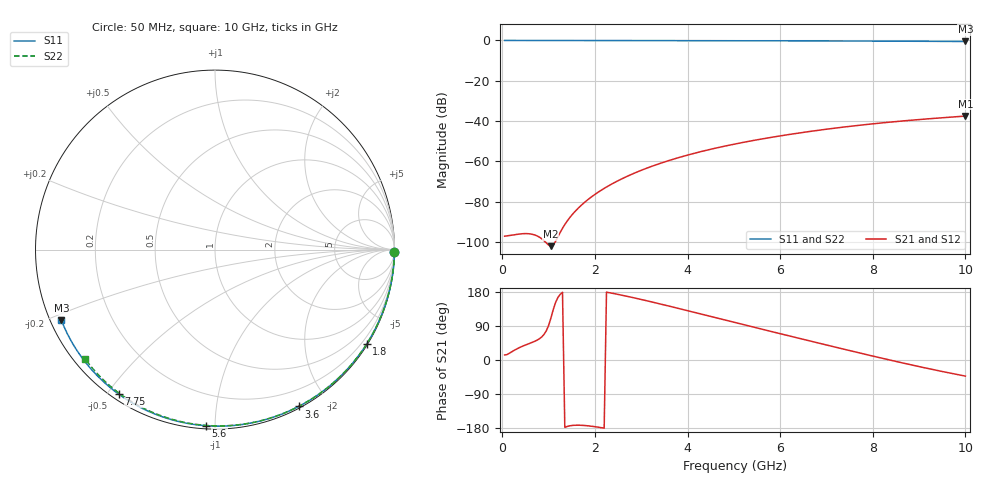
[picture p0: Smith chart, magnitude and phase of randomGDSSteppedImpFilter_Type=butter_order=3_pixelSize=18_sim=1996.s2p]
! freq	dB(S11)	phase(S11)	dB(S12)	phase(S12)
!  dB(S21)	phase(S21)	dB(S22)	phase(S22)
!S-par simulation data
#  GHz  S  DB  R 50
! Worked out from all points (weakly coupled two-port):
!   200 points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, 50 MHz to 10 GHz, reference 50 ohm
!   highest |S21| = -37.51 dB at 10 GHz (marker M1); lowest = -102.0 dB at 1.05 GHz (marker M2)
!   lowest |S11| = -0.5 dB at 10 GHz (marker M3), VSWR 33.65, Z = 1.56 - j10.9 ohm
!   |S11| at or under -10 dB: nowhere
!   |S22| runs from -0.5 to 0.0 dB; largest |S21 - S12| = 0
!   S11 on the Smith chart (normalised r, x): 50 MHz: open; 1.8 GHz: 0.03, -3.51; 3.6 GHz: 0.02, -1.67; 5.6 GHz: 0.02, -0.95; 7.75 GHz: 0.02, -0.54; 10 GHz: 0.03, -0.22
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0.05  -0.00 -0.9  -97.10 13.3  -97.10 13.3  -0.00 -0.8
0.55  -0.01 -9.9  -95.83 42.0  -95.83 42.0  -0.01 -8.9
1.05  -0.02 -18.7  -102.04 110.6  -102.04 110.6  -0.02 -16.9
1.75  -0.04 -30.9  -80.83 -172.6  -80.83 -172.6  -0.04 -28.0
1.8  -0.04 -31.8  -79.85 -173.1  -79.85 -173.1  -0.04 -28.8
1.95  -0.04 -34.4  -77.18 -175.1  -77.18 -175.1  -0.04 -31.1
2.1  -0.05 -37.0  -74.81 -177.8  -74.81 -177.8  -0.04 -33.5
2.3  -0.05 -40.4  -72.03 177.9  -72.03 177.9  -0.05 -36.5
2.5  -0.06 -43.8  -69.56 173.1  -69.56 173.1  -0.05 -39.6
2.9  -0.07 -50.5  -65.34 162.5  -65.34 162.5  -0.06 -45.7
3.4  -0.08 -58.7  -61.04 148.2  -61.04 148.2  -0.07 -53.2
3.6  -0.08 -61.9  -59.55 142.2  -59.55 142.2  -0.08 -56.2
4.3  -0.10 -73.1  -55.07 121.1  -55.07 121.1  -0.09 -66.3
5.05  -0.13 -84.6  -51.24 98.2  -51.24 98.2  -0.12 -76.8
5.6  -0.15 -92.9  -48.88 81.5  -48.88 81.5  -0.14 -84.3
6.15  -0.18 -100.9  -46.80 64.9  -46.80 64.9  -0.16 -91.7
6.7  -0.21 -108.9  -44.95 48.5  -44.95 48.5  -0.19 -98.9
7.2  -0.24 -115.9  -43.44 33.7  -43.44 33.7  -0.22 -105.3
7.75  -0.29 -123.7  -41.97 17.6  -41.97 17.6  -0.26 -112.2
8.35  -0.34 -132.0  -40.55 0.4  -40.55 0.4  -0.31 -119.6
9.2  -0.42 -143.9  -38.86 -22.7  -38.86 -22.7  -0.39 -130.0
10  -0.52 -155.3  -37.51 -42.5  -37.51 -42.5  -0.48 -139.7
